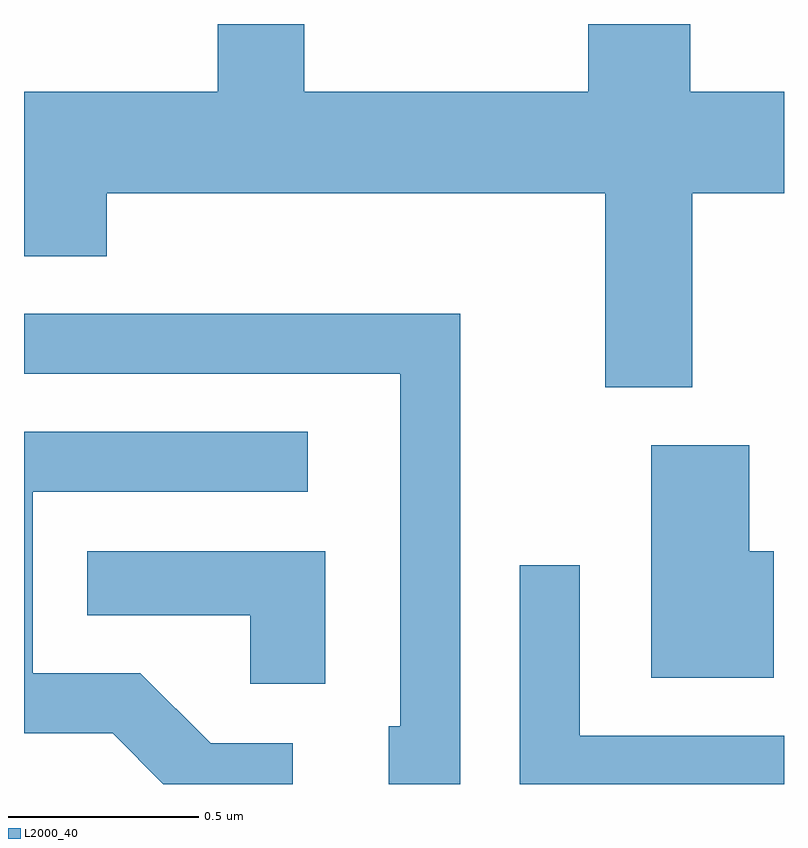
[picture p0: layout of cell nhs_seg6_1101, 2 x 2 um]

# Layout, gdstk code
import gdstk
lib = gdstk.Library(unit=1e-6, precision=1e-09)
def P(c, l, *ps):  # polygons
    for p in ps: c.add(gdstk.Polygon(p, *l))
L2000_40 = (2000, 40)

nhs_seg6_1101 = lib.new_cell('nhs_seg6_1101')
P(nhs_seg6_1101, L2000_40, [(195.369,1536.716),(195.611,1536.716),(195.611,1536.984),(195.364,1536.984),(195.364,1537.162),(195.096,1537.162),(195.096,1536.984),(194.349,1536.984),(194.349,1537.162),(194.121,1537.162),(194.121,1536.984),(193.611,1536.984),(193.611,1536.551),(193.829,1536.551),(193.829,1536.716),(195.141,1536.716),(195.141,1536.206),(195.369,1536.206)],
  [(194.759,1536.399),(193.611,1536.399),(193.611,1536.241),(194.601,1536.241),(194.601,1535.314),(194.571,1535.314),(194.571,1535.162),(194.759,1535.162)],
  [(194.318,1535.269),(194.102,1535.269),(193.917,1535.454),(193.634,1535.454),(193.634,1535.931),(194.358,1535.931),(194.358,1536.089),(193.611,1536.089),(193.611,1535.296),(193.844,1535.296),(193.978,1535.162),(194.318,1535.162)],
  [(195.584,1535.774),(195.519,1535.774),(195.519,1536.054),(195.261,1536.054),(195.261,1535.441),(195.584,1535.441)],
  [(194.404,1535.774),(193.778,1535.774),(193.778,1535.606),(194.206,1535.606),(194.206,1535.426),(194.404,1535.426)],
  [(195.611,1535.289),(195.074,1535.289),(195.074,1535.738),(194.916,1535.738),(194.916,1535.162),(195.611,1535.162)])

lib.write_gds('nhs_seg6_1101.gds')
